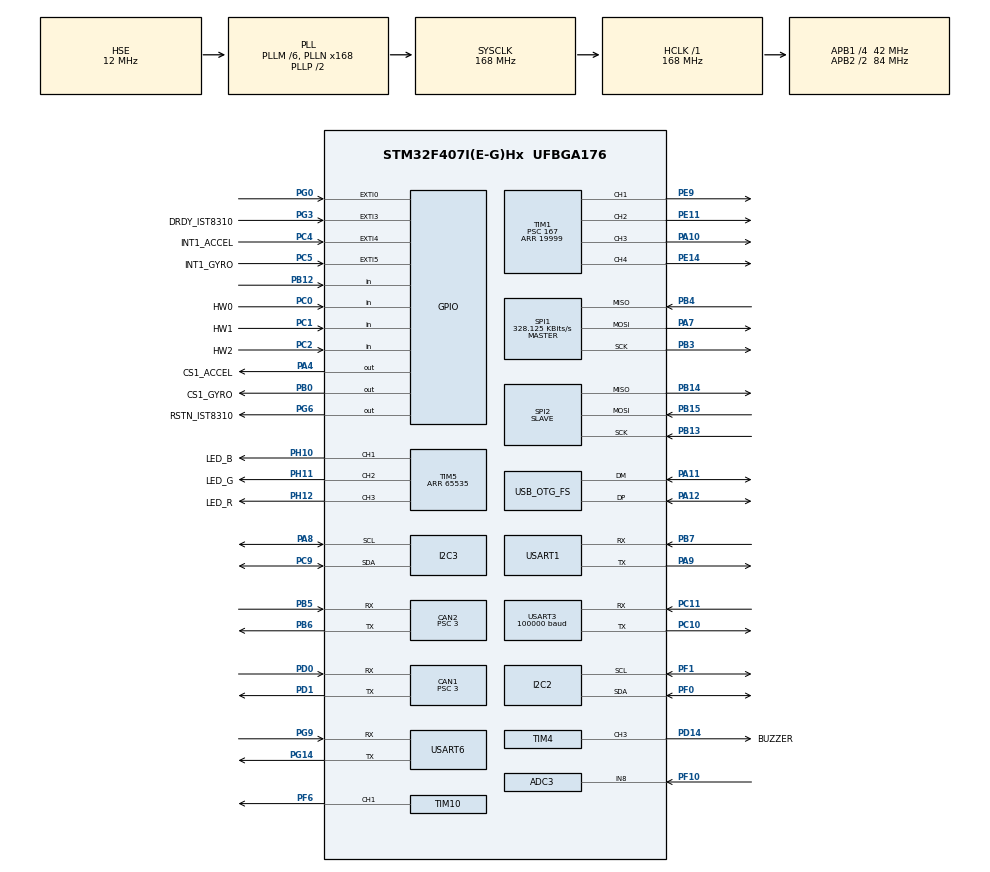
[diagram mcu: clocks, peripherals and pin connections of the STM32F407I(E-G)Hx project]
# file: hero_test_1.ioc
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ADC1.Channel-0\#ChannelRegularConversion=ADC_CHANNEL_TEMPSENSOR
ADC1.ClockPrescaler=ADC_CLOCK_SYNC_PCLK_DIV6
ADC1.NbrOfConversionFlag=1
ADC1.Rank-0\#ChannelRegularConversion=1
ADC1.SamplingTime-0\#ChannelRegularConversion=ADC_SAMPLETIME_3CYCLES
ADC1.master=1
ADC3.Channel-0\#ChannelRegularConversion=ADC_CHANNEL_8
ADC3.ClockPrescaler=ADC_CLOCK_SYNC_PCLK_DIV6
ADC3.NbrOfConversionFlag=1
ADC3.Rank-0\#ChannelRegularConversion=1
ADC3.SamplingTime-0\#ChannelRegularConversion=ADC_SAMPLETIME_3CYCLES
CAN1.BS1=CAN_BS1_10TQ
CAN1.BS2=CAN_BS2_3TQ
CAN1.CalculateBaudRate=1000000
CAN1.CalculateTimeBit=1000
CAN1.CalculateTimeQuantum=71.42857142857143
CAN1.Prescaler=3
CAN2.BS1=CAN_BS1_10TQ
CAN2.BS2=CAN_BS2_3TQ
CAN2.CalculateBaudRate=1000000
CAN2.CalculateTimeBit=1000
CAN2.CalculateTimeQuantum=71.42857142857143
CAN2.Prescaler=3
Dma.Request0=USART3_RX
Dma.Request1=SPI1_RX
Dma.Request2=SPI1_TX
Dma.Request3=USART1_RX
Dma.Request4=USART1_TX
Dma.Request5=USART6_RX
Dma.SPI1_RX.1.Direction=DMA_PERIPH_TO_MEMORY
Dma.SPI1_RX.1.FIFOMode=DMA_FIFOMODE_DISABLE
Dma.SPI1_RX.1.Instance=DMA2_Stream2
Dma.SPI1_RX.1.MemDataAlignment=DMA_MDATAALIGN_BYTE
Dma.SPI1_RX.1.MemInc=DMA_MINC_ENABLE
Dma.SPI1_RX.1.Mode=DMA_NORMAL
Dma.SPI1_RX.1.PeriphDataAlignment=DMA_PDATAALIGN_BYTE
Dma.SPI1_RX.1.PeriphInc=DMA_PINC_DISABLE
Dma.SPI1_RX.1.Priority=DMA_PRIORITY_VERY_HIGH
Dma.SPI1_TX.2.Direction=DMA_MEMORY_TO_PERIPH
Dma.SPI1_TX.2.FIFOMode=DMA_FIFOMODE_DISABLE
Dma.SPI1_TX.2.Instance=DMA2_Stream3
Dma.SPI1_TX.2.MemDataAlignment=DMA_MDATAALIGN_BYTE
Dma.SPI1_TX.2.MemInc=DMA_MINC_ENABLE
Dma.SPI1_TX.2.Mode=DMA_NORMAL
Dma.SPI1_TX.2.PeriphDataAlignment=DMA_PDATAALIGN_BYTE
Dma.SPI1_TX.2.PeriphInc=DMA_PINC_DISABLE
Dma.SPI1_TX.2.Priority=DMA_PRIORITY_HIGH
Dma.USART1_RX.3.Direction=DMA_PERIPH_TO_MEMORY
Dma.USART1_RX.3.FIFOMode=DMA_FIFOMODE_DISABLE
Dma.USART1_RX.3.Instance=DMA2_Stream5
Dma.USART1_RX.3.MemDataAlignment=DMA_MDATAALIGN_BYTE
Dma.USART1_RX.3.MemInc=DMA_MINC_ENABLE
Dma.USART1_RX.3.Mode=DMA_NORMAL
Dma.USART1_RX.3.PeriphDataAlignment=DMA_PDATAALIGN_BYTE
Dma.USART1_RX.3.PeriphInc=DMA_PINC_DISABLE
Dma.USART1_RX.3.Priority=DMA_PRIORITY_LOW
Dma.USART1_TX.4.Direction=DMA_MEMORY_TO_PERIPH
Dma.USART1_TX.4.FIFOMode=DMA_FIFOMODE_DISABLE
Dma.USART1_TX.4.Instance=DMA2_Stream7
Dma.USART1_TX.4.MemDataAlignment=DMA_MDATAALIGN_BYTE
Dma.USART1_TX.4.MemInc=DMA_MINC_ENABLE
Dma.USART1_TX.4.Mode=DMA_NORMAL
Dma.USART1_TX.4.PeriphDataAlignment=DMA_PDATAALIGN_BYTE
Dma.USART1_TX.4.PeriphInc=DMA_PINC_DISABLE
Dma.USART1_TX.4.Priority=DMA_PRIORITY_LOW
Dma.USART3_RX.0.Direction=DMA_PERIPH_TO_MEMORY
Dma.USART3_RX.0.FIFOMode=DMA_FIFOMODE_DISABLE
Dma.USART3_RX.0.Instance=DMA1_Stream1
Dma.USART3_RX.0.MemDataAlignment=DMA_MDATAALIGN_BYTE
Dma.USART3_RX.0.MemInc=DMA_MINC_ENABLE
Dma.USART3_RX.0.Mode=DMA_CIRCULAR
Dma.USART3_RX.0.PeriphDataAlignment=DMA_PDATAALIGN_BYTE
Dma.USART3_RX.0.PeriphInc=DMA_PINC_DISABLE
Dma.USART3_RX.0.Priority=DMA_PRIORITY_VERY_HIGH
Dma.USART6_RX.5.Direction=DMA_PERIPH_TO_MEMORY
Dma.USART6_RX.5.FIFOMode=DMA_FIFOMODE_DISABLE
Dma.USART6_RX.5.Instance=DMA2_Stream1
Dma.USART6_RX.5.MemDataAlignment=DMA_MDATAALIGN_BYTE
Dma.USART6_RX.5.MemInc=DMA_MINC_ENABLE
Dma.USART6_RX.5.Mode=DMA_NORMAL
Dma.USART6_RX.5.PeriphDataAlignment=DMA_PDATAALIGN_BYTE
Dma.USART6_RX.5.PeriphInc=DMA_PINC_DISABLE
Dma.USART6_RX.5.Priority=DMA_PRIORITY_VERY_HIGH
FREERTOS.INCLUDE_vTaskDelayUntil=1
FREERTOS.INCLUDE_xTaskGetHandle=1
FREERTOS.Tasks01=defaultTask,0,128,StartDefaultTask,Default,NULL,Dynamic,NULL,NULL
FREERTOS.configTOTAL_HEAP_SIZE=15360
I2C2.I2C_Mode=I2C_Fast
I2C3.I2C_Mode=I2C_Fast
Mcu.Family=STM32F4
Mcu.Name=STM32F407I(E-G)Hx
Mcu.Package=UFBGA176
NVIC.CAN1_RX0_IRQn=true\:6\:0\:true\:false\:true\:true\:true\:true\:true
NVIC.CAN2_RX0_IRQn=true\:5\:0\:false\:false\:true\:true\:true\:true\:true
NVIC.DMA1_Stream1_IRQn=true\:5\:0\:false\:false\:true\:true\:false\:true\:true
NVIC.DMA2_Stream1_IRQn=true\:5\:0\:false\:false\:true\:true\:false\:true\:true
NVIC.DMA2_Stream2_IRQn=true\:5\:0\:false\:false\:false\:false\:false\:true\:true
NVIC.DMA2_Stream3_IRQn=true\:5\:0\:false\:false\:true\:true\:false\:true\:true
NVIC.DMA2_Stream5_IRQn=true\:5\:0\:false\:false\:true\:true\:false\:true\:true
NVIC.DMA2_Stream7_IRQn=true\:5\:0\:false\:false\:true\:true\:false\:true\:true
NVIC.EXTI0_IRQn=true\:6\:0\:true\:false\:true\:true\:true\:true\:true
NVIC.EXTI3_IRQn=true\:5\:0\:false\:false\:true\:true\:true\:true\:true
NVIC.EXTI4_IRQn=true\:5\:0\:false\:false\:true\:true\:true\:true\:true
NVIC.EXTI9_5_IRQn=true\:5\:0\:false\:false\:true\:true\:true\:true\:true
NVIC.OTG_FS_IRQn=true\:5\:0\:false\:false\:true\:true\:false\:true\:true
NVIC.PriorityGroup=NVIC_PRIORITYGROUP_4
NVIC.TIM7_IRQn=true\:15\:0\:false\:false\:true\:false\:false\:true\:true
NVIC.TimeBase=TIM7_IRQn
NVIC.TimeBaseIP=TIM7
NVIC.USART1_IRQn=true\:5\:0\:false\:false\:false\:true\:true\:true\:true
NVIC.USART3_IRQn=true\:5\:0\:false\:false\:false\:true\:true\:true\:true
NVIC.USART6_IRQn=true\:5\:0\:false\:false\:false\:true\:true\:true\:true
PA10.Signal=S_TIM1_CH3
PA11.Mode=Device_Only
PA11.Signal=USB_OTG_FS_DM
PA12.Mode=Device_Only
PA12.Signal=USB_OTG_FS_DP
PA13.Mode=Serial_Wire
PA13.Signal=SYS_JTMS-SWDIO
PA14.Mode=Serial_Wire
PA14.Signal=SYS_JTCK-SWCLK
PA4.GPIO_Label=CS1_ACCEL
PA4.GPIO_PuPd=GPIO_PULLUP
PA4.GPIO_Speed=GPIO_SPEED_FREQ_HIGH
PA4.PinState=GPIO_PIN_SET
PA4.Signal=GPIO_Output
PA7.GPIO_PuPd=GPIO_PULLUP
PA7.Mode=Full_Duplex_Master
PA7.Signal=SPI1_MOSI
PA8.Mode=I2C
PA8.Signal=I2C3_SCL
PA9.Mode=Asynchronous
PA9.Signal=USART1_TX
PB0.GPIO_Label=CS1_GYRO
PB0.GPIO_PuPd=GPIO_PULLUP
PB0.GPIO_Speed=GPIO_SPEED_FREQ_HIGH
PB0.PinState=GPIO_PIN_SET
PB0.Signal=GPIO_Output
PB12.GPIO_PuPd=GPIO_PULLUP
PB12.Signal=GPIO_Input
PB13.GPIO_PuPd=GPIO_PULLUP
PB13.Mode=Full_Duplex_Slave
PB13.Signal=SPI2_SCK
PB14.GPIO_PuPd=GPIO_PULLUP
PB14.Mode=Full_Duplex_Slave
PB14.Signal=SPI2_MISO
PB15.GPIO_PuPd=GPIO_PULLUP
PB15.Mode=Full_Duplex_Slave
PB15.Signal=SPI2_MOSI
PB3.GPIO_PuPd=GPIO_PULLUP
PB3.Mode=Full_Duplex_Master
PB3.Signal=SPI1_SCK
PB4.GPIO_PuPd=GPIO_PULLUP
PB4.Mode=Full_Duplex_Master
PB4.Signal=SPI1_MISO
PB5.Mode=CAN_Activate
PB5.Signal=CAN2_RX
PB6.Mode=CAN_Activate
PB6.Signal=CAN2_TX
PB7.Mode=Asynchronous
PB7.Signal=USART1_RX
PC0.GPIO_Label=HW0
PC0.Signal=GPIO_Input
PC1.GPIO_Label=HW1
PC1.Signal=GPIO_Input
PC10.Mode=Asynchronous
PC10.Signal=USART3_TX
PC11.Mode=Asynchronous
PC11.Signal=USART3_RX
PC2.GPIO_Label=HW2
PC2.Signal=GPIO_Input
PC4.GPIO_Label=INT1_ACCEL
PC4.GPIO_ModeDefaultEXTI=GPIO_MODE_IT_FALLING
PC4.GPIO_PuPd=GPIO_PULLUP
PC4.Signal=GPXTI4
PC5.GPIO_Label=INT1_GYRO
PC5.GPIO_ModeDefaultEXTI=GPIO_MODE_IT_FALLING
PC5.GPIO_PuPd=GPIO_PULLUP
PC5.Signal=GPXTI5
PC9.Mode=I2C
PC9.Signal=I2C3_SDA
PD0.Mode=CAN_Activate
PD0.Signal=CAN1_RX
PD1.Mode=CAN_Activate
PD1.Signal=CAN1_TX
PD14.GPIO_Label=BUZZER
PD14.GPIO_PuPd=GPIO_PULLUP
PD14.GPIO_Speed=GPIO_SPEED_FREQ_VERY_HIGH
PD14.Signal=S_TIM4_CH3
PE11.Signal=S_TIM1_CH2
PE14.Signal=S_TIM1_CH4
PE9.Signal=S_TIM1_CH1
PF0.GPIO_Pu=GPIO_PULLUP
PF0.Mode=I2C
PF0.Signal=I2C2_SDA
PF1.GPIO_Pu=GPIO_PULLUP
PF1.Mode=I2C
PF1.Signal=I2C2_SCL
PF10.Mode=IN8
PF10.Signal=ADC3_IN8
PF6.GPIO_PuPd=GPIO_PULLUP
PF6.GPIO_Speed=GPIO_SPEED_FREQ_HIGH
PF6.Signal=S_TIM10_CH1
PG0.GPIO_PuPd=GPIO_PULLUP
PG0.Signal=GPXTI0
PG14.Mode=Asynchronous
PG14.Signal=USART6_TX
PG3.GPIO_Label=DRDY_IST8310
PG3.GPIO_PuPd=GPIO_PULLUP
PG3.Signal=GPXTI3
PG6.GPIO_Label=RSTN_IST8310
PG6.GPIO_PuPd=GPIO_PULLUP
PG6.GPIO_Speed=GPIO_SPEED_FREQ_MEDIUM
PG6.PinState=GPIO_PIN_SET
PG6.Signal=GPIO_Output
PG9.Mode=Asynchronous
PG9.Signal=USART6_RX
PH0-OSC_IN.Mode=HSE-External-Oscillator
PH0-OSC_IN.Signal=RCC_OSC_IN
PH1-OSC_OUT.Mode=HSE-External-Oscillator
PH1-OSC_OUT.Signal=RCC_OSC_OUT
PH10.GPIO_Label=LED_B
PH10.GPIO_PuPd=GPIO_PULLUP
PH10.GPIO_Speed=GPIO_SPEED_FREQ_HIGH
PH10.Signal=S_TIM5_CH1
PH11.GPIO_Label=LED_G
PH11.GPIO_PuPd=GPIO_PULLUP
PH11.GPIO_Speed=GPIO_SPEED_FREQ_HIGH
PH11.Signal=S_TIM5_CH2
PH12.GPIO_Label=LED_R
PH12.GPIO_PuPd=GPIO_PULLUP
PH12.GPIO_Speed=GPIO_SPEED_FREQ_HIGH
PH12.Signal=S_TIM5_CH3
ProjectManager.HeapSize=0x200
ProjectManager.StackSize=0x400
ProjectManager.TargetToolchain=MDK-ARM V5
RCC.48MHZClocksFreq_Value=48000000
RCC.AHBFreq_Value=168000000
RCC.APB1CLKDivider=RCC_HCLK_DIV4
RCC.APB1Freq_Value=42000000
RCC.APB1TimFreq_Value=84000000
RCC.APB2CLKDivider=RCC_HCLK_DIV2
RCC.APB2Freq_Value=84000000
RCC.APB2TimFreq_Value=168000000
RCC.CortexFreq_Value=168000000
RCC.HCLKFreq_Value=168000000
RCC.HSE_VALUE=12000000
RCC.HSI_VALUE=16000000
RCC.LSE_VALUE=32768
RCC.PLLM=6
RCC.PLLN=168
RCC.PLLQ=7
RCC.SYSCLKFreq_VALUE=168000000
RCC.SYSCLKSource=RCC_SYSCLKSOURCE_PLLCLK
RCC.VCOOutputFreq_Value=336000000
RTC.AsynchPrediv=124
SH.S_TIM10_CH1.0=TIM10_CH1,PWM Generation1 CH1
SH.S_TIM1_CH1.0=TIM1_CH1,PWM Generation1 CH1
SH.S_TIM1_CH2.0=TIM1_CH2,PWM Generation2 CH2
SH.S_TIM1_CH3.0=TIM1_CH3,PWM Generation3 CH3
SH.S_TIM1_CH4.0=TIM1_CH4,PWM Generation4 CH4
SH.S_TIM4_CH3.0=TIM4_CH3,PWM Generation3 CH3
SH.S_TIM5_CH1.0=TIM5_CH1,PWM Generation1 CH1
SH.S_TIM5_CH2.0=TIM5_CH2,PWM Generation2 CH2
SH.S_TIM5_CH3.0=TIM5_CH3,PWM Generation3 CH3
SPI1.BaudRatePrescaler=SPI_BAUDRATEPRESCALER_256
SPI1.CLKPhase=SPI_PHASE_2EDGE
SPI1.CLKPolarity=SPI_POLARITY_HIGH
SPI1.CalculateBaudRate=328.125 KBits/s
SPI1.Direction=SPI_DIRECTION_2LINES
SPI1.Mode=SPI_MODE_MASTER
SPI1.VirtualType=VM_MASTER
SPI2.CLKPhase=SPI_PHASE_2EDGE
SPI2.CLKPolarity=SPI_POLARITY_HIGH
SPI2.Direction=SPI_DIRECTION_2LINES
SPI2.Mode=SPI_MODE_SLAVE
SPI2.VirtualType=VM_SLAVE
TIM1.AutoReloadPreload=TIM_AUTORELOAD_PRELOAD_ENABLE
TIM1.Channel-PWM\ Generation1\ CH1=TIM_CHANNEL_1
TIM1.Channel-PWM\ Generation2\ CH2=TIM_CHANNEL_2
TIM1.Channel-PWM\ Generation3\ CH3=TIM_CHANNEL_3
TIM1.Channel-PWM\ Generation4\ CH4=TIM_CHANNEL_4
TIM1.Period=19999
TIM1.Prescaler=167
TIM1.Pulse-PWM\ Generation1\ CH1=5000
TIM1.Pulse-PWM\ Generation2\ CH2=5000
TIM1.Pulse-PWM\ Generation3\ CH3=5000
TIM1.Pulse-PWM\ Generation4\ CH4=5000
TIM10.Channel=TIM_CHANNEL_1
TIM10.Period=4999
TIM2.Period=65535
TIM2.Prescaler=83
TIM4.Channel-PWM\ Generation3\ CH3=TIM_CHANNEL_3
TIM4.Period=20999
TIM4.Prescaler=0
TIM5.Channel-PWM\ Generation1\ CH1=TIM_CHANNEL_1
TIM5.Channel-PWM\ Generation2\ CH2=TIM_CHANNEL_2
TIM5.Channel-PWM\ Generation3\ CH3=TIM_CHANNEL_3
TIM5.Period=65535
USART1.VirtualMode=VM_ASYNC
USART3.BaudRate=100000
USART3.Parity=PARITY_EVEN
USART3.VirtualMode=VM_ASYNC
USART3.WordLength=WORDLENGTH_9B
USART6.VirtualMode=VM_ASYNC
USB_DEVICE.CLASS_NAME_FS=CDC
USB_DEVICE.VirtualMode-CDC_FS=Cdc
USB_DEVICE.VirtualModeFS=Cdc_FS
USB_OTG_FS.VirtualMode=Device_Only
VP_ADC1_TempSens_Input.Mode=IN-TempSens
VP_FREERTOS_VS_CMSIS_V1.Mode=CMSIS_V1
VP_RTC_VS_RTC_Activate.Mode=RTC_Enabled
VP_SYS_VS_tim7.Mode=TIM7
VP_TIM10_VS_ClockSourceINT.Mode=Enable_Timer
VP_TIM1_VS_ClockSourceINT.Mode=Internal
VP_TIM2_VS_ClockSourceINT.Mode=Internal
VP_TIM4_VS_ClockSourceINT.Mode=Internal
VP_TIM5_VS_ClockSourceINT.Mode=Internal
VP_USB_DEVICE_VS_USB_DEVICE_CDC_FS.Mode=CDC_FS
board=custom

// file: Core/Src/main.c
/* USER CODE BEGIN Header */
/**
  ******************************************************************************
  * @file           : main.c
  * @brief          : Main program body
  ******************************************************************************
  * @attention
  *
  * <h2><center>&copy; Copyright (c) 2021 STMicroelectronics.
  * All rights reserved.</center></h2>
  *
  * This software component is licensed by ST under Ultimate Liberty license
  * SLA0044, the "License"; You may not use this file except in compliance with
  * the License. You may obtain a copy of the License at:
  *                             www.st.com/SLA0044
  *
  ******************************************************************************
  */
/* USER CODE END Header */
#include "main.h"
#include "cmsis_os.h"
#include "adc.h"
#include "can.h"
#include "dma.h"
#include "i2c.h"
#include "rtc.h"
#include "spi.h"
#include "tim.h"
#include "usart.h"
#include "usb_device.h"
#include "gpio.h"

/* USER CODE BEGIN Includes */
#include "remote_control.h"
#include "BMI088driver.h"
#include "BSP_can.h"
/* USER CODE END Includes */

/* USER CODE BEGIN PTD */
//#include "BSP_.h"
#include "calibrate_task.h"
#include "gimbal_task.h"
#include "chassis_task.h"
/* USER CODE END PTD */

void SystemClock_Config(void);
void MX_FREERTOS_Init(void);

/* USER CODE BEGIN 0 */
   	fp32 gyro[3], accel[3], temp;
/* USER CODE END 0 */

int main(void)
{

  /* MCU Configuration--------------------------------------------------------*/

  /* Reset of all peripherals, Initializes the Flash interface and the Systick. */
  HAL_Init();

  /* Configure the system clock */
  SystemClock_Config();

  /* Initialize all configured peripherals */
  MX_GPIO_Init();
  MX_TIM1_Init();
  MX_DMA_Init();
  MX_USART3_UART_Init();
  MX_TIM5_Init();
  MX_SPI1_Init();
  MX_CAN1_Init();
  MX_CAN2_Init();
  MX_TIM10_Init();
  MX_I2C3_Init();
  MX_SPI2_Init();
  MX_ADC1_Init();
  MX_ADC3_Init();
  MX_RTC_Init();
  MX_TIM4_Init();
  MX_I2C2_Init();
  MX_TIM2_Init();
  MX_USART1_UART_Init();
  MX_USART6_UART_Init();
  /* USER CODE BEGIN 2 */
	can_filter_init();
	remote_control_init(&rc_ctrl);
	HAL_TIM_Base_Start(&htim4);
	HAL_TIM_PWM_Start(&htim4, TIM_CHANNEL_3);
	cali_param_init();
  /* USER CODE END 2 */

  /* Call init function for freertos objects (in freertos.c) */
  MX_FREERTOS_Init();

  /* Start scheduler */
  osKernelStart();

  /* We should never get here as control is now taken by the scheduler */
  /* Infinite loop */
  /* USER CODE BEGIN WHILE */
  while (1)
  {
//		 BMI088_read(gyro, accel, &temp);
//     HAL_Delay(10);
    /* USER CODE END WHILE */

  }
}

void SystemClock_Config(void)
{
  RCC_OscInitTypeDef RCC_OscInitStruct = {0};
  RCC_ClkInitTypeDef RCC_ClkInitStruct = {0};

  /** Configure the main internal regulator output voltage
  */
  __HAL_RCC_PWR_CLK_ENABLE();
  __HAL_PWR_VOLTAGESCALING_CONFIG(PWR_REGULATOR_VOLTAGE_SCALE1);

  /** Initializes the RCC Oscillators according to the specified parameters
  * in the RCC_OscInitTypeDef structure.
  */
  RCC_OscInitStruct.OscillatorType = RCC_OSCILLATORTYPE_LSI|RCC_OSCILLATORTYPE_HSE;
  RCC_OscInitStruct.HSEState = RCC_HSE_ON;
  RCC_OscInitStruct.LSIState = RCC_LSI_ON;
  RCC_OscInitStruct.PLL.PLLState = RCC_PLL_ON;
  RCC_OscInitStruct.PLL.PLLSource = RCC_PLLSOURCE_HSE;
  RCC_OscInitStruct.PLL.PLLM = 6;
  RCC_OscInitStruct.PLL.PLLN = 168;
  RCC_OscInitStruct.PLL.PLLP = RCC_PLLP_DIV2;
  RCC_OscInitStruct.PLL.PLLQ = 7;
  if (HAL_RCC_OscConfig(&RCC_OscInitStruct) != HAL_OK)
  {
    Error_Handler();
  }

  /** Initializes the CPU, AHB and APB buses clocks
  */
  RCC_ClkInitStruct.ClockType = RCC_CLOCKTYPE_HCLK|RCC_CLOCKTYPE_SYSCLK
                              |RCC_CLOCKTYPE_PCLK1|RCC_CLOCKTYPE_PCLK2;
  RCC_ClkInitStruct.SYSCLKSource = RCC_SYSCLKSOURCE_PLLCLK;
  RCC_ClkInitStruct.AHBCLKDivider = RCC_SYSCLK_DIV1;
  RCC_ClkInitStruct.APB1CLKDivider = RCC_HCLK_DIV4;
  RCC_ClkInitStruct.APB2CLKDivider = RCC_HCLK_DIV2;

  if (HAL_RCC_ClockConfig(&RCC_ClkInitStruct, FLASH_LATENCY_5) != HAL_OK)
  {
    Error_Handler();
  }
}

/* USER CODE BEGIN 4 */
typedef union
{
    float fdata;
    unsigned long ldata;
}FloatLongType;
void Float_to_Byte(float f,unsigned char byte[])
{
    FloatLongType fl;
    fl.fdata=f;
    byte[0]=(unsigned char)fl.ldata;
    byte[1]=(unsigned char)(fl.ldata>>8);
    byte[2]=(unsigned char)(fl.ldata>>16);
    byte[3]=(unsigned char)(fl.ldata>>24);
}
/* USER CODE END 4 */

void HAL_TIM_PeriodElapsedCallback(TIM_HandleTypeDef *htim)
{
  if (htim->Instance == TIM7) {
    HAL_IncTick();
  }
}

void Error_Handler(void)
{
  __disable_irq();
  while (1)
  {
  }
}
